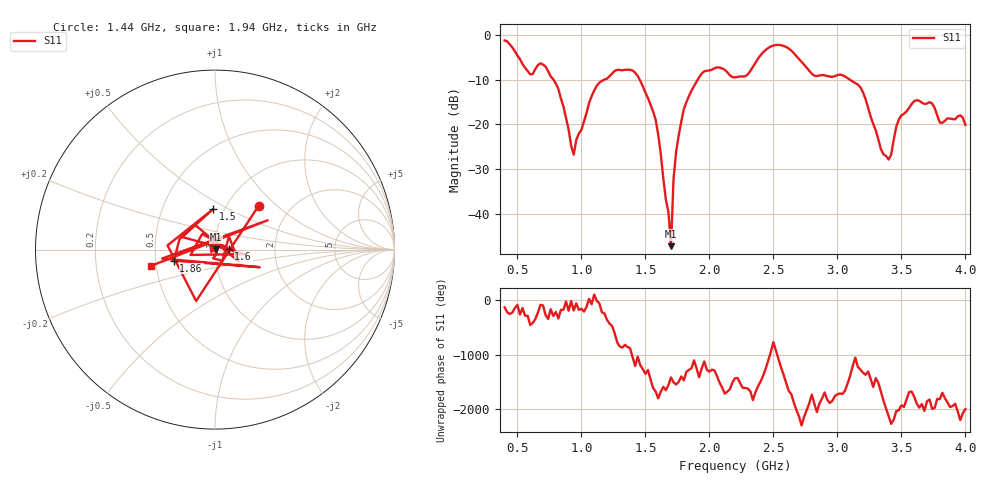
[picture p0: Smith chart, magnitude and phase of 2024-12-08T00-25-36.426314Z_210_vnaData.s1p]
!Created with skrf (http://scikit-rf.org).
# Hz S RI R 50.0
!freq ReS11 ImS11
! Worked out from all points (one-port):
!   181 points, 400 MHz to 4 GHz, reference 50 ohm
!   lowest |S11| = -47.1 dB at 1.7 GHz (marker M1), VSWR 1.01, Z = 50.4 + j0.197 ohm
!   |S11| at or under -10 dB: 781.5 MHz to 1.18 GHz (398.2 MHz wide, 40.6 % of centre); 1.454 GHz to 1.91 GHz (455.3 MHz wide, 27.1 % of centre); 3.095 GHz to end of sweep
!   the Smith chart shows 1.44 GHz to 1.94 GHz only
!   S11 on the Smith chart (normalised r, x): 1.44 GHz: 1.39, +0.78; 1.5 GHz: 0.89, +0.42; 1.6 GHz: 1.17, +0.01; 1.86 GHz: 0.62, -0.08; 1.94 GHz: 0.47, -0.10
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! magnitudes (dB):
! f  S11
! 400 MHz  -1.3
! 600 MHz  -8.8
! 720 MHz  -7.1
! 860 MHz  -16.1
! 940 MHz  -26.7
! 1.1 GHz  -12.4
! 1.3 GHz  -7.9
! 1.44 GHz  -9.2
! 1.5 GHz  -12.9
! 1.6 GHz  -22.3
! 1.68 GHz  -39.5
! 1.7 GHz  -47.1
! 1.72 GHz  -32.1
! 1.76 GHz  -22.5
! 1.86 GHz  -12.5
! 1.94 GHz  -8.7
! 2.2 GHz  -9.5
! 2.48 GHz  -2.6
! 2.66 GHz  -4.1
! 2.82 GHz  -9.1
! 3.1 GHz  -10.1
! 3.2 GHz  -12.8
! 3.4 GHz  -27.8
! 3.48 GHz  -18.9
! 3.56 GHz  -16.3
! 3.72 GHz  -15.0
! 3.8 GHz  -19.6
! 4 GHz  -20.1
